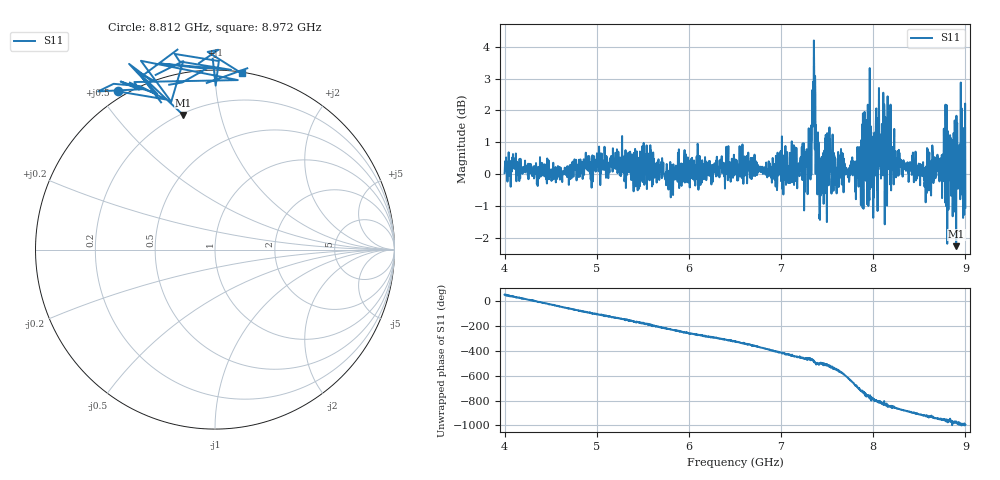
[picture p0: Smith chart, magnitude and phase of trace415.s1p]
! Created with skrf 1.8.0 (http://scikit-rf.org).
# Hz S RI R 50.0
!freq ReS11 ImS11
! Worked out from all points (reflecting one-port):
!   1601 points, 4 GHz to 9 GHz, reference 50 ohm
!   lowest |S11| = -2.3 dB at 8.9 GHz (marker M1), VSWR 7.73, Z = 10.4 + j38.5 ohm
!   phase of S11 starts at 53 deg and turns -1047 deg over the sweep
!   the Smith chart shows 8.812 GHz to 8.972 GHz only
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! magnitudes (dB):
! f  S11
! 4 GHz  0.0
! 4.625 GHz  -0.2
! 5.25 GHz  0.0
! 5.875 GHz  0.2
! 6.5 GHz  0.2
! 7.125 GHz  0.4
! 7.306 GHz  0.2
! 7.356 GHz  4.2
! 7.381 GHz  0.8
! 7.4 GHz  1.3
! 7.441 GHz  0.5
! 7.509 GHz  -0.2
! 7.588 GHz  0.5
! 7.75 GHz  0.0
! 7.859 GHz  0.7
! 7.906 GHz  2.0
! 7.934 GHz  -0.9
! 8.022 GHz  0.5
! 8.097 GHz  1.1
! 8.178 GHz  2.1
! 8.216 GHz  0.2
! 8.375 GHz  0.2
! 8.556 GHz  -0.4
! 8.775 GHz  1.0
! 8.838 GHz  0.1
! 8.9 GHz  -2.3
! 8.972 GHz  -0.1
! 9 GHz  -1.0
